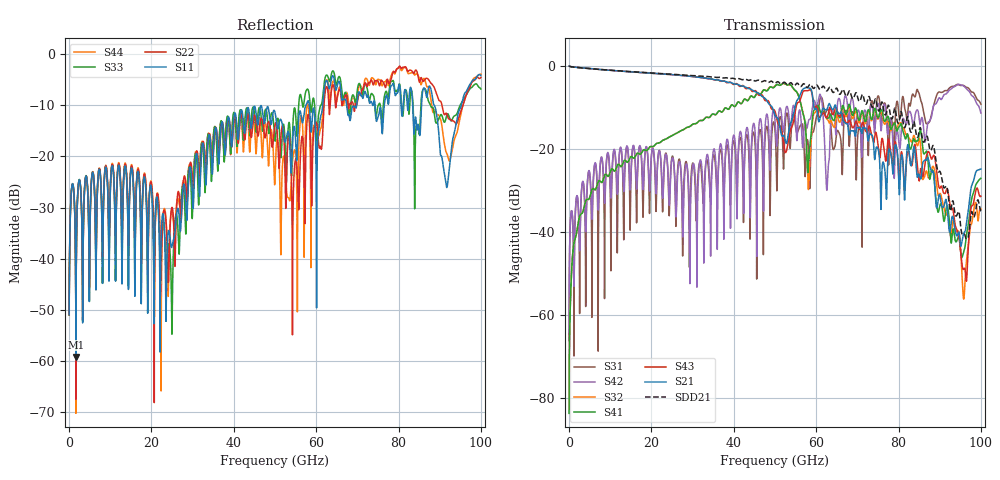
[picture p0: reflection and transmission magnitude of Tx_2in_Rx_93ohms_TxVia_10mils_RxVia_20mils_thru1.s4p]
! Info: Touchstone file created by Circ.  Input file=Tx_2in_Rx_93ohms_TxVia_10mils_RxVia_20mils.circ
# Hz S RI R 50
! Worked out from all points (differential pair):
!   10000 points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, 10 MHz to 100 GHz, reference 50 ohm
!   strongest paths, dB at 10 MHz, 25.01 GHz, 50.01 GHz, 75.01 GHz, 100 GHz:
!     S21: 0.0, -2.1, -11.8, -20.0, -24.8
!     S43: 0.0, -2.1, -10.9, -18.8, -31.4
!     S41: -83.7, -16.8, -4.9, -12.5, -27.0
!     S32: -83.7, -16.8, -4.8, -12.8, -34.5
!     S42: -66.2, -22.4, -13.1, -9.0, -11.4
!     S31: -66.2, -21.9, -15.5, -7.2, -9.2
!   taken as a pair (ports 1,3 in; 2,4 out), SDD21 dB: 0.0, -2.0, -4.1, -10.5, -35.0
!   lowest |S11| = -59.2 dB at 1.66 GHz (marker M1), VSWR 1.00, Z = 50.1 - j0.0456 ohm
!   |S11| at or under -10 dB: start of sweep to 57.56 GHz; 58.32 GHz to 61.58 GHz (3.261 GHz wide, 5.44 % of centre); 88.65 GHz to 95.24 GHz (6.584 GHz wide, 7.16 % of centre)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
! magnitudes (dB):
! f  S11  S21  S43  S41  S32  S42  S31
! 10 MHz  -50.9  0.0  0.0  -83.7  -83.7  -66.2  -66.2
! 1.66 GHz  -59.2  -0.3  -0.3  -41.0  -41.0  -32.9  -32.9
! 24.89 GHz  -37.8  -2.1  -2.1  -16.8  -16.8  -23.1  -22.5
! 52.08 GHz  -15.6  -16.7  -18.5  -4.1  -4.2  -15.8  -24.8
! 84.9 GHz  -14.3  -26.1  -27.0  -17.1  -18.1  -11.7  -6.4
! 95.82 GHz  -8.2  -40.4  -49.0  -44.8  -56.2  -4.8  -4.7
! 100 GHz  -4.2  -24.8  -31.4  -27.0  -34.5  -11.4  -9.2
